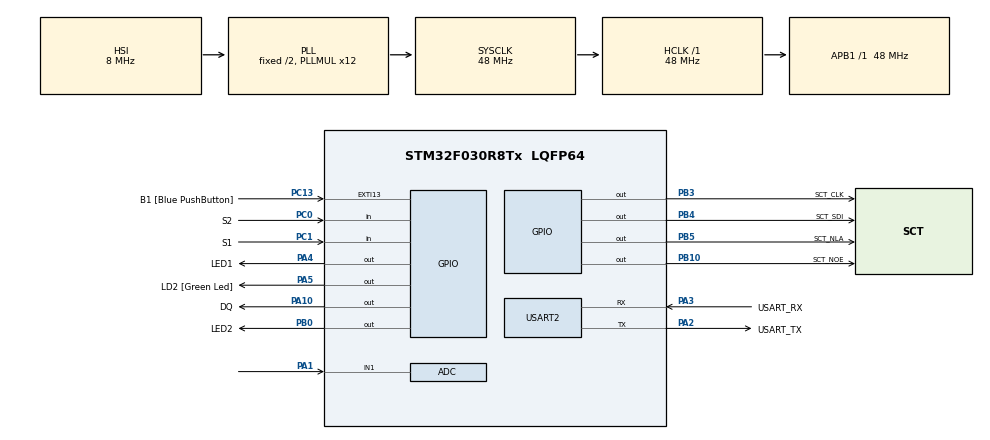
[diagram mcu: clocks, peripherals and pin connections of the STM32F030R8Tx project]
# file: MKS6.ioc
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ADC.ContinuousConvMode=ENABLE
ADC.Overrun=ADC_OVR_DATA_OVERWRITTEN
ADC.Resolution=ADC_RESOLUTION_10B
Mcu.Family=STM32F0
Mcu.Name=STM32F030R8Tx
Mcu.Package=LQFP64
PA1.Mode=IN1
PA1.Signal=ADC_IN1
PA10.GPIO_Label=DQ
PA10.GPIO_ModeDefaultOutputPP=GPIO_MODE_OUTPUT_OD
PA10.GPIO_PuPd=GPIO_NOPULL
PA10.PinState=GPIO_PIN_SET
PA10.Signal=GPIO_Output
PA13.GPIO_Label=TMS
PA13.Mode=Serial_Wire
PA13.Signal=SYS_SWDIO
PA14.GPIO_Label=TCK
PA14.Mode=Serial_Wire
PA14.Signal=SYS_SWCLK
PA2.GPIO_Label=USART_TX
PA2.GPIO_Mode=GPIO_MODE_AF_PP
PA2.GPIO_PuPd=GPIO_NOPULL
PA2.GPIO_Speed=GPIO_SPEED_FREQ_LOW
PA2.Mode=Asynchronous
PA2.Signal=USART2_TX
PA3.GPIO_Label=USART_RX
PA3.GPIO_Mode=GPIO_MODE_AF_PP
PA3.GPIO_PuPd=GPIO_NOPULL
PA3.GPIO_Speed=GPIO_SPEED_FREQ_LOW
PA3.Mode=Asynchronous
PA3.Signal=USART2_RX
PA4.GPIO_Label=LED1
PA4.Signal=GPIO_Output
PA5.GPIO_Label=LD2 [Green Led]
PA5.GPIO_Mode=GPIO_MODE_OUTPUT_PP
PA5.GPIO_PuPd=GPIO_NOPULL
PA5.GPIO_Speed=GPIO_SPEED_FREQ_LOW
PA5.Signal=GPIO_Output
PB0.GPIO_Label=LED2
PB0.Signal=GPIO_Output
PB10.GPIO_Label=SCT_NOE
PB10.Signal=GPIO_Output
PB3.GPIO_Label=SCT_CLK
PB3.Signal=GPIO_Output
PB4.GPIO_Label=SCT_SDI
PB4.Signal=GPIO_Output
PB5.GPIO_Label=SCT_NLA
PB5.Signal=GPIO_Output
PC0.GPIO_Label=S2
PC0.GPIO_PuPd=GPIO_PULLUP
PC0.Signal=GPIO_Input
PC1.GPIO_Label=S1
PC1.GPIO_PuPd=GPIO_PULLUP
PC1.Signal=GPIO_Input
PC13.GPIO_Label=B1 [Blue PushButton]
PC13.GPIO_ModeDefaultEXTI=GPIO_MODE_IT_FALLING
PC13.Signal=GPXTI13
PC14-OSC32_IN.Mode=LSE-External-Oscillator
PC14-OSC32_IN.Signal=RCC_OSC32_IN
PC15-OSC32_OUT.Mode=LSE-External-Oscillator
PC15-OSC32_OUT.Signal=RCC_OSC32_OUT
PF0-OSC_IN.Mode=HSE-External-Clock-Source
PF0-OSC_IN.Signal=RCC_OSC_IN
PF1-OSC_OUT.Signal=RCC_OSC_OUT
ProjectManager.HeapSize=0x200
ProjectManager.StackSize=0x400
ProjectManager.TargetToolchain=STM32CubeIDE
RCC.AHBFreq_Value=48000000
RCC.APB1Freq_Value=48000000
RCC.APB1TimFreq_Value=48000000
RCC.HCLKFreq_Value=48000000
RCC.PLLMUL=RCC_PLL_MUL12
RCC.SYSCLKFreq_VALUE=48000000
RCC.SYSCLKSource=RCC_SYSCLKSOURCE_PLLCLK
USART2.VirtualMode-Asynchronous=VM_ASYNC
board=NUCLEO-F030R8

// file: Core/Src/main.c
/* USER CODE BEGIN Header */
/**
  ******************************************************************************
  * @file           : main.c
  * @brief          : Main program body
  ******************************************************************************
  * @attention
  *
  * Copyright (c) 2024 STMicroelectronics.
  * All rights reserved.
  *
  * This software is licensed under terms that can be found in the LICENSE file
  * in the root directory of this software component.
  * If no LICENSE file comes with this software, it is provided AS-IS.
  *
  ******************************************************************************
  */
/* USER CODE END Header */
#include "main.h"

/* USER CODE BEGIN Includes */
#include "sct.h"
#include "1wire.h"
/* USER CODE END Includes */

ADC_HandleTypeDef hadc;

UART_HandleTypeDef huart2;

/* USER CODE BEGIN PV */
static const int16_t data[] = {
  #include "data.dlm"
};
/* USER CODE END PV */

void SystemClock_Config(void);
static void MX_GPIO_Init(void);
static void MX_USART2_UART_Init(void);
static void MX_ADC_Init(void);

int main(void)
{

  /* MCU Configuration--------------------------------------------------------*/

  /* Reset of all peripherals, Initializes the Flash interface and the Systick. */
  HAL_Init();

  /* Configure the system clock */
  SystemClock_Config();

  /* Initialize all configured peripherals */
  MX_GPIO_Init();
  MX_USART2_UART_Init();
  MX_ADC_Init();
  /* USER CODE BEGIN 2 */
  sct_init();
  OWInit();

  HAL_ADCEx_Calibration_Start(&hadc);
  HAL_ADC_Start(&hadc);

  /* USER CODE END 2 */

  /* Infinite loop */
  /* USER CODE BEGIN WHILE */
  while (1)
  {
    static uint32_t stateChangeTime = 0;
    int16_t temp_DS;
		int16_t temp_ntc;
		static enum FSM
		{
			DF, DALLAS, NTC
		} state;

		static uint32_t cTick_DS;
		if (HAL_GetTick() > cTick_DS + 750)
		{
			OWConvertAll();
			if (OWReadTemperature(&temp_DS) != 0)
			{
				temp_DS = temp_DS / 10;
			}
			cTick_DS = HAL_GetTick();
		}

		static uint32_t cTick_ntc;
		if (HAL_GetTick() > cTick_ntc + 500)
		{
			int16_t adc;
			adc = HAL_ADC_GetValue(&hadc);
			temp_ntc = data[adc];
			cTick_ntc = HAL_GetTick();
		}

    static uint32_t lastDebounceTime_S2 = 0;
    static uint32_t lastDebounceTime_S1 = 0;
    static const uint32_t debounceDelay = 50; // 50 ms debounce delay

    if (HAL_GPIO_ReadPin(S2_GPIO_Port, S2_Pin) == 0)
    {
      if (HAL_GetTick() - lastDebounceTime_S2 > debounceDelay)
      {
        state = NTC;
      }
      lastDebounceTime_S2 = HAL_GetTick();
      stateChangeTime = HAL_GetTick();
    }

    if (HAL_GPIO_ReadPin(S1_GPIO_Port, S1_Pin) == 0)
    {
      if (HAL_GetTick() - lastDebounceTime_S1 > debounceDelay)
      {
        state = DALLAS;
      }
      lastDebounceTime_S1 = HAL_GetTick();
      stateChangeTime = HAL_GetTick();
    }

    if (HAL_GetTick() - stateChangeTime > 30000) // 30 seconds
    {
      state = DF; // Reset to default state
      stateChangeTime = HAL_GetTick();
    }

    switch (state)
    {
    case DF:
      sct_value(0, 0, 3);
      HAL_GPIO_WritePin(LED1_GPIO_Port, LED1_Pin, GPIO_PIN_RESET);
      HAL_GPIO_WritePin(LED2_GPIO_Port, LED2_Pin, GPIO_PIN_RESET);
      break;
    case DALLAS:
      sct_value(temp_DS, 0, 1);
      HAL_GPIO_WritePin(LED2_GPIO_Port, LED2_Pin, GPIO_PIN_SET);
      HAL_GPIO_WritePin(LED1_GPIO_Port, LED1_Pin, GPIO_PIN_RESET);
      break;
    case NTC:
      sct_value(temp_ntc, 0, 1);
      HAL_GPIO_WritePin(LED2_GPIO_Port, LED2_Pin, GPIO_PIN_RESET);
      HAL_GPIO_WritePin(LED1_GPIO_Port, LED1_Pin, GPIO_PIN_SET);
      break;
    default:
      break;
    }

    /* USER CODE END WHILE */

  }
}

void SystemClock_Config(void)
{
  RCC_OscInitTypeDef RCC_OscInitStruct = {0};
  RCC_ClkInitTypeDef RCC_ClkInitStruct = {0};

  /** Initializes the RCC Oscillators according to the specified parameters
  * in the RCC_OscInitTypeDef structure.
  */
  RCC_OscInitStruct.OscillatorType = RCC_OSCILLATORTYPE_HSI|RCC_OSCILLATORTYPE_HSI14;
  RCC_OscInitStruct.HSIState = RCC_HSI_ON;
  RCC_OscInitStruct.HSI14State = RCC_HSI14_ON;
  RCC_OscInitStruct.HSICalibrationValue = RCC_HSICALIBRATION_DEFAULT;
  RCC_OscInitStruct.HSI14CalibrationValue = 16;
  RCC_OscInitStruct.PLL.PLLState = RCC_PLL_ON;
  RCC_OscInitStruct.PLL.PLLSource = RCC_PLLSOURCE_HSI;
  RCC_OscInitStruct.PLL.PLLMUL = RCC_PLL_MUL12;
  RCC_OscInitStruct.PLL.PREDIV = RCC_PREDIV_DIV1;
  if (HAL_RCC_OscConfig(&RCC_OscInitStruct) != HAL_OK)
  {
    Error_Handler();
  }

  /** Initializes the CPU, AHB and APB buses clocks
  */
  RCC_ClkInitStruct.ClockType = RCC_CLOCKTYPE_HCLK|RCC_CLOCKTYPE_SYSCLK
                              |RCC_CLOCKTYPE_PCLK1;
  RCC_ClkInitStruct.SYSCLKSource = RCC_SYSCLKSOURCE_PLLCLK;
  RCC_ClkInitStruct.AHBCLKDivider = RCC_SYSCLK_DIV1;
  RCC_ClkInitStruct.APB1CLKDivider = RCC_HCLK_DIV1;

  if (HAL_RCC_ClockConfig(&RCC_ClkInitStruct, FLASH_LATENCY_1) != HAL_OK)
  {
    Error_Handler();
  }
}

static void MX_ADC_Init(void)
{

  ADC_ChannelConfTypeDef sConfig = {0};

  /** Configure the global features of the ADC (Clock, Resolution, Data Alignment and number of conversion)
  */
  hadc.Instance = ADC1;
  hadc.Init.ClockPrescaler = ADC_CLOCK_ASYNC_DIV1;
  hadc.Init.Resolution = ADC_RESOLUTION_10B;
  hadc.Init.DataAlign = ADC_DATAALIGN_RIGHT;
  hadc.Init.ScanConvMode = ADC_SCAN_DIRECTION_FORWARD;
  hadc.Init.EOCSelection = ADC_EOC_SINGLE_CONV;
  hadc.Init.LowPowerAutoWait = DISABLE;
  hadc.Init.LowPowerAutoPowerOff = DISABLE;
  hadc.Init.ContinuousConvMode = ENABLE;
  hadc.Init.DiscontinuousConvMode = DISABLE;
  hadc.Init.ExternalTrigConv = ADC_SOFTWARE_START;
  hadc.Init.ExternalTrigConvEdge = ADC_EXTERNALTRIGCONVEDGE_NONE;
  hadc.Init.DMAContinuousRequests = DISABLE;
  hadc.Init.Overrun = ADC_OVR_DATA_OVERWRITTEN;
  if (HAL_ADC_Init(&hadc) != HAL_OK)
  {
    Error_Handler();
  }

  /** Configure for the selected ADC regular channel to be converted.
  */
  sConfig.Channel = ADC_CHANNEL_1;
  sConfig.Rank = ADC_RANK_CHANNEL_NUMBER;
  sConfig.SamplingTime = ADC_SAMPLETIME_1CYCLE_5;
  if (HAL_ADC_ConfigChannel(&hadc, &sConfig) != HAL_OK)
  {
    Error_Handler();
  }

}

static void MX_USART2_UART_Init(void)
{

  huart2.Instance = USART2;
  huart2.Init.BaudRate = 38400;
  huart2.Init.WordLength = UART_WORDLENGTH_8B;
  huart2.Init.StopBits = UART_STOPBITS_1;
  huart2.Init.Parity = UART_PARITY_NONE;
  huart2.Init.Mode = UART_MODE_TX_RX;
  huart2.Init.HwFlowCtl = UART_HWCONTROL_NONE;
  huart2.Init.OverSampling = UART_OVERSAMPLING_16;
  huart2.Init.OneBitSampling = UART_ONE_BIT_SAMPLE_DISABLE;
  huart2.AdvancedInit.AdvFeatureInit = UART_ADVFEATURE_NO_INIT;
  if (HAL_UART_Init(&huart2) != HAL_OK)
  {
    Error_Handler();
  }

}

static void MX_GPIO_Init(void)
{
  GPIO_InitTypeDef GPIO_InitStruct = {0};

  /* GPIO Ports Clock Enable */
  __HAL_RCC_GPIOC_CLK_ENABLE();
  __HAL_RCC_GPIOF_CLK_ENABLE();
  __HAL_RCC_GPIOA_CLK_ENABLE();
  __HAL_RCC_GPIOB_CLK_ENABLE();

  /*Configure GPIO pin Output Level */
  HAL_GPIO_WritePin(GPIOA, LED1_Pin|LD2_Pin, GPIO_PIN_RESET);

  /*Configure GPIO pin Output Level */
  HAL_GPIO_WritePin(GPIOB, LED2_Pin|SCT_NOE_Pin|SCT_CLK_Pin|SCT_SDI_Pin
                          |SCT_NLA_Pin, GPIO_PIN_RESET);

  /*Configure GPIO pin Output Level */
  HAL_GPIO_WritePin(DQ_GPIO_Port, DQ_Pin, GPIO_PIN_SET);

  /*Configure GPIO pin : B1_Pin */
  GPIO_InitStruct.Pin = B1_Pin;
  GPIO_InitStruct.Mode = GPIO_MODE_IT_FALLING;
  GPIO_InitStruct.Pull = GPIO_NOPULL;
  HAL_GPIO_Init(B1_GPIO_Port, &GPIO_InitStruct);

  /*Configure GPIO pins : S2_Pin S1_Pin */
  GPIO_InitStruct.Pin = S2_Pin|S1_Pin;
  GPIO_InitStruct.Mode = GPIO_MODE_INPUT;
  GPIO_InitStruct.Pull = GPIO_PULLUP;
  HAL_GPIO_Init(GPIOC, &GPIO_InitStruct);

  /*Configure GPIO pins : LED1_Pin LD2_Pin */
  GPIO_InitStruct.Pin = LED1_Pin|LD2_Pin;
  GPIO_InitStruct.Mode = GPIO_MODE_OUTPUT_PP;
  GPIO_InitStruct.Pull = GPIO_NOPULL;
  GPIO_InitStruct.Speed = GPIO_SPEED_FREQ_LOW;
  HAL_GPIO_Init(GPIOA, &GPIO_InitStruct);

  /*Configure GPIO pins : LED2_Pin SCT_NOE_Pin SCT_CLK_Pin SCT_SDI_Pin
                           SCT_NLA_Pin */
  GPIO_InitStruct.Pin = LED2_Pin|SCT_NOE_Pin|SCT_CLK_Pin|SCT_SDI_Pin
                          |SCT_NLA_Pin;
  GPIO_InitStruct.Mode = GPIO_MODE_OUTPUT_PP;
  GPIO_InitStruct.Pull = GPIO_NOPULL;
  GPIO_InitStruct.Speed = GPIO_SPEED_FREQ_LOW;
  HAL_GPIO_Init(GPIOB, &GPIO_InitStruct);

  /*Configure GPIO pin : DQ_Pin */
  GPIO_InitStruct.Pin = DQ_Pin;
  GPIO_InitStruct.Mode = GPIO_MODE_OUTPUT_OD;
  GPIO_InitStruct.Pull = GPIO_NOPULL;
  GPIO_InitStruct.Speed = GPIO_SPEED_FREQ_LOW;
  HAL_GPIO_Init(DQ_GPIO_Port, &GPIO_InitStruct);

}

void Error_Handler(void)
{
  __disable_irq();
  while (1)
  {
  }
}
